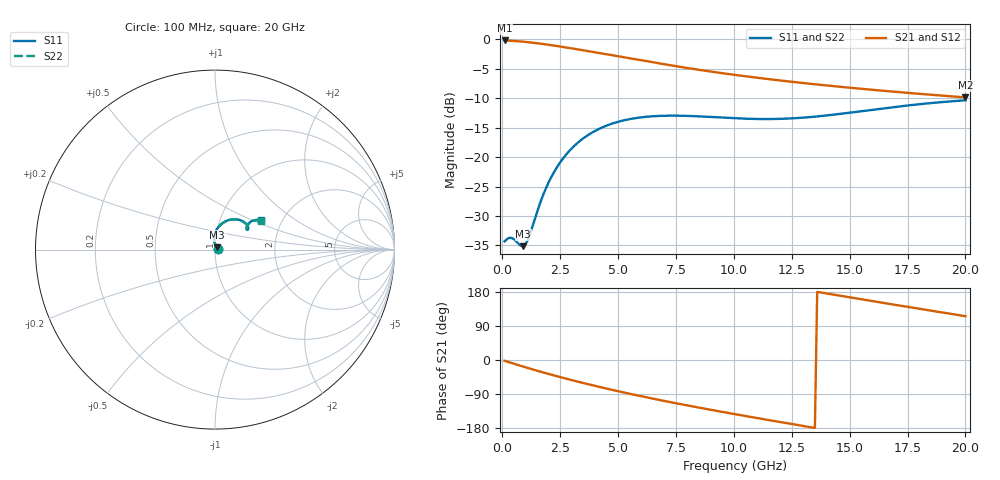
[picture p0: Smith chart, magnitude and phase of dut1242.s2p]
! Touchstone file exported from HFSS 2024.1.0
!  File:  C:/UserFiles/LocalFiles/RDL_TSV_Batchsim/temp_RDL_TSV_1242_1780267402.aedt
!  Generated:  06:59:34 AM Jun  1, 2026
!  Design:  RDL_TSV
!  Project:  temp_RDL_TSV_1242_1780267402
!  Setup:  Setup1
!  Solution:  Sweep
! Variables:
!  dtsv = 11.15um
!  hbump = 3um
!  htsv = 58.13um
!  ldown = 398.07um
!  lrdl = 667.92um
!  p = 40
!  p1 = 42.2um
!  rhole = 10um
!  subl = 3865.89um
!  t = 450um
!  tdown = 3.55um
!  trdl = 3.12um
!  viad = 10um
!  wdown = 20.94um
!  wrdl = 23.52um
!  xbump = 18um
# GHz S MA R 50.000000
! Terminal data exported
! Port[1] = TM1_1_T1
! Port[2] = TM1_4_T1
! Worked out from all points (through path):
!   200 points, 100 MHz to 20 GHz, reference 50 ohm
!   highest |S21| = -0.17 dB at 100 MHz (marker M1); lowest = -9.8 dB at 20 GHz (marker M2)
!   group delay of S21, straight-line fit = 32.4 ps
!   lowest |S11| = -35.1 dB at 900 MHz (marker M3), VSWR 1.04, Z = 51.2 + j1.31 ohm
!   |S11| at or under -10 dB: start of sweep to end of sweep
!   |S22| runs from -35.1 to -10.4 dB; largest |S21 - S12| = 9.5e-15
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0.1  0.01925 6.6  0.9805 -2.0  0.9805 -2.0  0.01925 6.6
! Gamma 0 0 0 0
! Port Impedance 50 0 50 0
0.4  0.02059 16.2  0.9738 -7.9  0.9738 -7.9  0.0206 16.1
0.9  0.01751 46.8  0.9571 -17.3  0.9571 -17.3  0.01753 46.7
1  0.01815 57.5  0.953 -19.2  0.953 -19.2  0.01817 57.3
1.1  0.01976 67.7  0.9486 -21.0  0.9486 -21.0  0.01975 67.5
1.7  0.04421 94.3  0.918 -31.7  0.918 -31.7  0.04409 94.1
1.9  0.05521 94.9  0.9066 -35.1  0.9066 -35.1  0.05505 94.8
2.2  0.0726 93.4  0.8889 -40.2  0.8889 -40.2  0.07238 93.2
2.8  0.1076 86.4  0.8523 -49.9  0.8523 -49.9  0.1073 86.3
3.5  0.1445 76.8  0.8089 -60.8  0.8089 -60.8  0.1441 76.6
4.2  0.1746 67.5  0.7661 -71.1  0.7661 -71.1  0.174 67.3
4.9  0.197 59.1  0.7247 -81.0  0.7247 -81.0  0.1963 58.9
5.8  0.2152 49.9  0.6746 -93.0  0.6746 -93.0  0.2144 49.8
6.8  0.224 41.9  0.6242 -105.7  0.6242 -105.7  0.2232 41.8
8.4  0.2224 33.9  0.5557 -124.6  0.5557 -124.6  0.2216 33.7
10.1  0.2137 31.2  0.4981 -143.5  0.4981 -143.5  0.2127 31.0
11.7  0.2108 32.8  0.4551 -160.6  0.4551 -160.6  0.2096 32.5
13.4  0.2198 36.0  0.418 -178.3  0.418 -178.3  0.2183 35.7
15.1  0.2399 37.9  0.3873 164.3  0.3873 164.3  0.238 37.6
16.7  0.2632 37.6  0.3627 148.2  0.3627 148.2  0.2609 37.3
18.3  0.2854 35.6  0.3414 132.3  0.3414 132.3  0.2827 35.3
20  0.3039 32.4  0.322 115.7  0.322 115.7  0.3008 32.1
